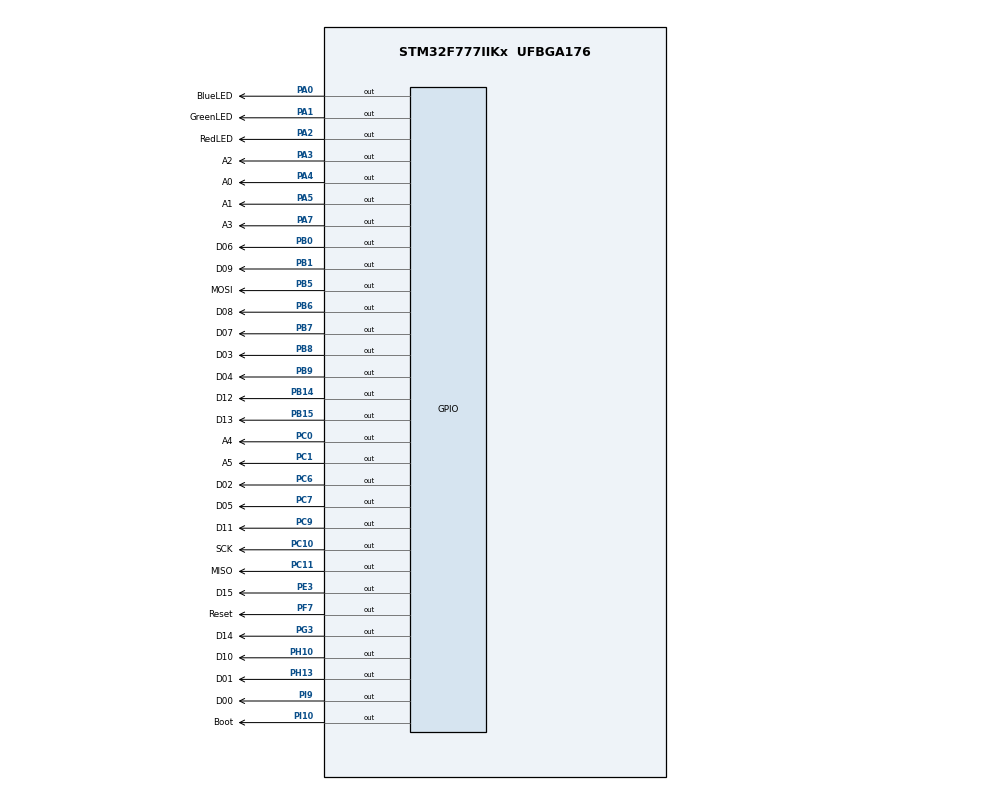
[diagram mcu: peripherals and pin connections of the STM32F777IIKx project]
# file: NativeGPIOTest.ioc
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Mcu.Family=STM32F7
Mcu.Name=STM32F777IIKx
Mcu.Package=UFBGA176
NVIC.PriorityGroup=NVIC_PRIORITYGROUP_4
PA0/WKUP.GPIO_Label=BlueLED
PA0/WKUP.Signal=GPIO_Output
PA1.GPIO_Label=GreenLED
PA1.Signal=GPIO_Output
PA2.GPIO_Label=RedLED
PA2.Signal=GPIO_Output
PA3.GPIO_Label=A2
PA3.Signal=GPIO_Output
PA4.GPIO_Label=A0
PA4.Signal=GPIO_Output
PA5.GPIO_Label=A1
PA5.Signal=GPIO_Output
PA7.GPIO_Label=A3
PA7.Signal=GPIO_Output
PB0.GPIO_Label=D06
PB0.Signal=GPIO_Output
PB1.GPIO_Label=D09
PB1.Signal=GPIO_Output
PB14.GPIO_Label=D12
PB14.Signal=GPIO_Output
PB15.GPIO_Label=D13
PB15.Signal=GPIO_Output
PB5.GPIO_Label=MOSI
PB5.Signal=GPIO_Output
PB6.GPIO_Label=D08
PB6.Signal=GPIO_Output
PB7.GPIO_Label=D07
PB7.Signal=GPIO_Output
PB8.GPIO_Label=D03
PB8.Signal=GPIO_Output
PB9.GPIO_Label=D04
PB9.PinState=GPIO_PIN_RESET
PB9.Signal=GPIO_Output
PC0.GPIO_Label=A4
PC0.Signal=GPIO_Output
PC1.GPIO_Label=A5
PC1.Signal=GPIO_Output
PC10.GPIO_Label=SCK
PC10.Signal=GPIO_Output
PC11.GPIO_Label=MISO
PC11.Signal=GPIO_Output
PC6.GPIO_Label=D02
PC6.Signal=GPIO_Output
PC7.GPIO_Label=D05
PC7.Signal=GPIO_Output
PC9.GPIO_Label=D11
PC9.Signal=GPIO_Output
PE3.GPIO_Label=D15
PE3.Signal=GPIO_Output
PF7.GPIO_Label=Reset
PF7.Signal=GPIO_Output
PG3.GPIO_Label=D14
PG3.Signal=GPIO_Output
PH10.GPIO_Label=D10
PH10.Signal=GPIO_Output
PH13.GPIO_Label=D01
PH13.Signal=GPIO_Output
PI10.GPIO_Label=Boot
PI10.Signal=GPIO_Output
PI9.GPIO_Label=D00
PI9.Signal=GPIO_Output
ProjectManager.HeapSize=0x200
ProjectManager.StackSize=0x400
ProjectManager.TargetToolchain=STM32CubeIDE
RCC.HSE_VALUE=25000000
RCC.HSI_VALUE=16000000
RCC.LSE_VALUE=32768
RCC.USBFreq_Value=96000000
RCC.VCOOutputFreq_Value=192000000
board=custom

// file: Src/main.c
/* USER CODE BEGIN Header */
/**
 ******************************************************************************
 * @file           : main.c
 * @brief          : Main program body
 ******************************************************************************
 ** This notice applies to any and all portions of this file
 * that are not between comment pairs USER CODE BEGIN and
 * USER CODE END. Other portions of this file, whether
 * inserted by the user or by software development tools
 * are owned by their respective copyright owners.
 *
 * COPYRIGHT(c) 2019 STMicroelectronics
 *
 * Redistribution and use in source and binary forms, with or without modification,
 * are permitted provided that the following conditions are met:
 *   1. Redistributions of source code must retain the above copyright notice,
 *      this list of conditions and the following disclaimer.
 *   2. Redistributions in binary form must reproduce the above copyright notice,
 *      this list of conditions and the following disclaimer in the documentation
 *      and/or other materials provided with the distribution.
 *   3. Neither the name of STMicroelectronics nor the names of its contributors
 *      may be used to endorse or promote products derived from this software
 *      without specific prior written permission.
 *
 * THIS SOFTWARE IS PROVIDED BY THE COPYRIGHT HOLDERS AND CONTRIBUTORS "AS IS"
 * AND ANY EXPRESS OR IMPLIED WARRANTIES, INCLUDING, BUT NOT LIMITED TO, THE
 * IMPLIED WARRANTIES OF MERCHANTABILITY AND FITNESS FOR A PARTICULAR PURPOSE ARE
 * DISCLAIMED. IN NO EVENT SHALL THE COPYRIGHT HOLDER OR CONTRIBUTORS BE LIABLE
 * FOR ANY DIRECT, INDIRECT, INCIDENTAL, SPECIAL, EXEMPLARY, OR CONSEQUENTIAL
 * DAMAGES (INCLUDING, BUT NOT LIMITED TO, PROCUREMENT OF SUBSTITUTE GOODS OR
 * SERVICES; LOSS OF USE, DATA, OR PROFITS; OR BUSINESS INTERRUPTION) HOWEVER
 * CAUSED AND ON ANY THEORY OF LIABILITY, WHETHER IN CONTRACT, STRICT LIABILITY,
 * OR TORT (INCLUDING NEGLIGENCE OR OTHERWISE) ARISING IN ANY WAY OUT OF THE USE
 * OF THIS SOFTWARE, EVEN IF ADVISED OF THE POSSIBILITY OF SUCH DAMAGE.
 *
 ******************************************************************************
 */
/* USER CODE END Header */

#include "main.h"
#include "gpio.h"

/* USER CODE BEGIN Includes */

#include <string.h>
#include <stdio.h>

/* USER CODE END Includes */

/* USER CODE BEGIN PTD */

struct GpioPin
{
	GPIO_TypeDef *port;
	uint16_t pin;
};

struct GpioPin pins[] = { { A0_GPIO_Port, A0_Pin }, { A1_GPIO_Port, A1_Pin }, { A2_GPIO_Port, A2_Pin }, { A3_GPIO_Port, A3_Pin }, { A4_GPIO_Port, A4_Pin }, { A5_GPIO_Port, A5_Pin }, {
SCK_GPIO_Port, SCK_Pin }, { MOSI_GPIO_Port, MOSI_Pin }, { MISO_GPIO_Port, MISO_Pin }, { D00_GPIO_Port, D00_Pin }, { D01_GPIO_Port, D01_Pin }, { D02_GPIO_Port, D02_Pin }, { D03_GPIO_Port,
D03_Pin }, { D04_GPIO_Port, D04_Pin }, { D05_GPIO_Port, D05_Pin }, { D06_GPIO_Port, D06_Pin }, { D07_GPIO_Port, D07_Pin }, { D08_GPIO_Port, D08_Pin }, { D09_GPIO_Port, D09_Pin }, { D10_GPIO_Port,
D10_Pin }, { D11_GPIO_Port, D11_Pin }, { D12_GPIO_Port, D12_Pin }, { D13_GPIO_Port, D13_Pin }, { D14_GPIO_Port, D14_Pin }, { D15_GPIO_Port, D15_Pin } };

/* USER CODE END PTD */

void SystemClock_Config(void);

int main(void)
{

  /* MCU Configuration--------------------------------------------------------*/

  /* Reset of all peripherals, Initializes the Flash interface and the Systick. */
  HAL_Init();

  /* Configure the system clock */
  SystemClock_Config();

  /* Initialize all configured peripherals */
  MX_GPIO_Init();
  /* USER CODE BEGIN 2 */

//
//  Turn all of the LEDs off (note that reset = on, set = off).
//
	HAL_GPIO_WritePin(RedLED_GPIO_Port, RedLED_Pin, GPIO_PIN_SET);
	HAL_GPIO_WritePin(BlueLED_GPIO_Port, BlueLED_Pin, GPIO_PIN_SET);
	HAL_GPIO_WritePin(GreenLED_GPIO_Port, GreenLED_Pin, GPIO_PIN_SET);

	HAL_GPIO_WritePin(Boot_GPIO_Port, Boot_Pin, GPIO_PIN_SET);
	HAL_GPIO_WritePin(Reset_GPIO_Port, Reset_Pin, GPIO_PIN_SET);

	int numberOfPins = sizeof(pins) / sizeof(struct GpioPin);

	for (int index = 0; index < numberOfPins; index++)
	{
		HAL_GPIO_WritePin(pins[index].port, pins[index].pin, GPIO_PIN_RESET);
	}

  /* USER CODE END 2 */

  /* Infinite loop */
  /* USER CODE BEGIN WHILE */
	int counter = 0;

	while (1)
	{
//		char buffer[256];
//		memset(buffer, 0, 256);
//
//		snprintf(buffer, 256, "Loop counter %d\n", counter++);
//		HAL_UART_Transmit(&huart1, (uint8_t *) buffer, strlen(buffer), HAL_MAX_DELAY);
//
//		ChangePinToOutput(D04_GPIO_Port, D04_Pin);
//		ChangePinToOutput(Boot_GPIO_Port, Boot_Pin);
//
//		HAL_GPIO_WritePin(D04_GPIO_Port, D04_Pin, GPIO_PIN_RESET);
//		HAL_GPIO_WritePin(Boot_GPIO_Port, Boot_Pin, GPIO_PIN_RESET);
//		HAL_Delay(200);
//		HAL_GPIO_WritePin(D04_GPIO_Port, D04_Pin, GPIO_PIN_SET);
//		HAL_GPIO_WritePin(Boot_GPIO_Port, Boot_Pin, GPIO_PIN_SET);
//
//		ChangePinToInput(D04_GPIO_Port, D04_Pin);
//		ChangePinToInput(Boot_GPIO_Port, Boot_Pin);

// ChangePinToOutput(D03_GPIO_Port, D03_Pin);
// HAL_GPIO_WritePin(D03_GPIO_Port, D03_Pin, GPIO_PIN_SET);

// HAL_GPIO_WritePin(Reset_GPIO_Port, Reset_Pin, GPIO_PIN_RESET);
// HAL_Delay(100);
// HAL_GPIO_WritePin(Reset_GPIO_Port, Reset_Pin, GPIO_PIN_SET);

// ChangePinToInput(Boot_GPIO_Port, Boot_Pin);
// ChangePinToInput(D03_GPIO_Port, D03_Pin);

		for (int index = 0; index < numberOfPins; index++)
		{
			HAL_GPIO_WritePin(pins[index].port, pins[index].pin, GPIO_PIN_RESET);
		}

		if (counter == numberOfPins)
		{
			counter = 0;
		}

		HAL_GPIO_TogglePin(pins[counter].port, pins[counter].pin);
		counter++;
		HAL_GPIO_TogglePin(GreenLED_GPIO_Port, GreenLED_Pin);
		HAL_Delay(500);

    /* USER CODE END WHILE */

	}
}

void SystemClock_Config(void)
{
  RCC_OscInitTypeDef RCC_OscInitStruct = {0};
  RCC_ClkInitTypeDef RCC_ClkInitStruct = {0};

  /** Configure the main internal regulator output voltage
  */
  __HAL_RCC_PWR_CLK_ENABLE();
  __HAL_PWR_VOLTAGESCALING_CONFIG(PWR_REGULATOR_VOLTAGE_SCALE3);
  /** Initializes the CPU, AHB and APB busses clocks
  */
  RCC_OscInitStruct.OscillatorType = RCC_OSCILLATORTYPE_HSI;
  RCC_OscInitStruct.HSIState = RCC_HSI_ON;
  RCC_OscInitStruct.HSICalibrationValue = RCC_HSICALIBRATION_DEFAULT;
  RCC_OscInitStruct.PLL.PLLState = RCC_PLL_NONE;
  if (HAL_RCC_OscConfig(&RCC_OscInitStruct) != HAL_OK)
  {
    Error_Handler();
  }
  /** Initializes the CPU, AHB and APB busses clocks
  */
  RCC_ClkInitStruct.ClockType = RCC_CLOCKTYPE_HCLK|RCC_CLOCKTYPE_SYSCLK
                              |RCC_CLOCKTYPE_PCLK1|RCC_CLOCKTYPE_PCLK2;
  RCC_ClkInitStruct.SYSCLKSource = RCC_SYSCLKSOURCE_HSI;
  RCC_ClkInitStruct.AHBCLKDivider = RCC_SYSCLK_DIV1;
  RCC_ClkInitStruct.APB1CLKDivider = RCC_HCLK_DIV1;
  RCC_ClkInitStruct.APB2CLKDivider = RCC_HCLK_DIV1;

  if (HAL_RCC_ClockConfig(&RCC_ClkInitStruct, FLASH_LATENCY_0) != HAL_OK)
  {
    Error_Handler();
  }
}

void Error_Handler(void)
{
}

/************************ (C) COPYRIGHT STMicroelectronics *****END OF FILE****/
